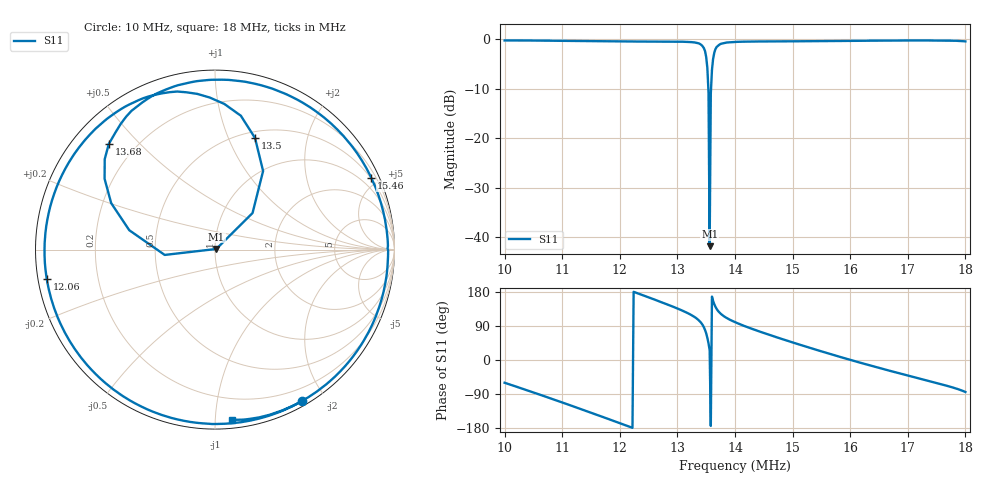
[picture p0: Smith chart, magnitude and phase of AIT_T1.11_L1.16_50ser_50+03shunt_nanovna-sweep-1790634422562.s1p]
! NanoVNA Web complex sweep
! Processing: original sample grid, no browser smoothing
# Hz S RI R 50
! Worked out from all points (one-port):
!   401 points, 10 MHz to 18 MHz, reference 50 ohm
!   lowest |S11| = -41.9 dB at 13.56 MHz (marker M1), VSWR 1.02, Z = 50.7 + j0.357 ohm
!   |S11| at or under -10 dB: 13.53717 MHz to 13.58417 MHz (47 kHz wide, 0.347 % of centre)
!   S11 on the Smith chart (normalised r, x): 10 MHz: 0.05, -1.73; 12.06 MHz: 0.03, -0.09; 13.5 MHz: 0.57, +1.26; 13.68 MHz: 0.11, +0.41; 15.46 MHz: 0.47, +4.53; 18 MHz: 0.05, -1.10
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1e7  0.4857 -0.8438
1.052e7  0.0562 -0.9701
1.1e7  -0.3626 -0.8962
1.154e7  -0.748 -0.5995
1.2e7  -0.9266 -0.2191
1.206e7  -0.9372 -0.1646
1.254e7  -0.9074 0.2766
1.3e7  -0.6802 0.6584
1.324e7  -0.4513 0.8208
1.338e7  -0.2107 0.8807
1.346e7  0.0518 0.8116
1.35e7  0.223 0.6219
1.352e7  0.268 0.4377
1.356e7  0.00725 0.00352
1.36e7  -0.4777 0.108
1.362e7  -0.5785 0.259
1.364e7  -0.6152 0.3948
1.368e7  -0.592 0.588
1.38e7  -0.4049 0.82
1.4e7  -0.1617 0.9264
1.446e7  0.2717 0.9114
1.5e7  0.659 0.6907
1.546e7  0.8707 0.3996
1.6e7  0.9616 0.00562
1.648e7  0.911 -0.331
1.7e7  0.7343 -0.6384
1.758e7  0.4263 -0.8733
1.8e7  0.0923 -0.9474
